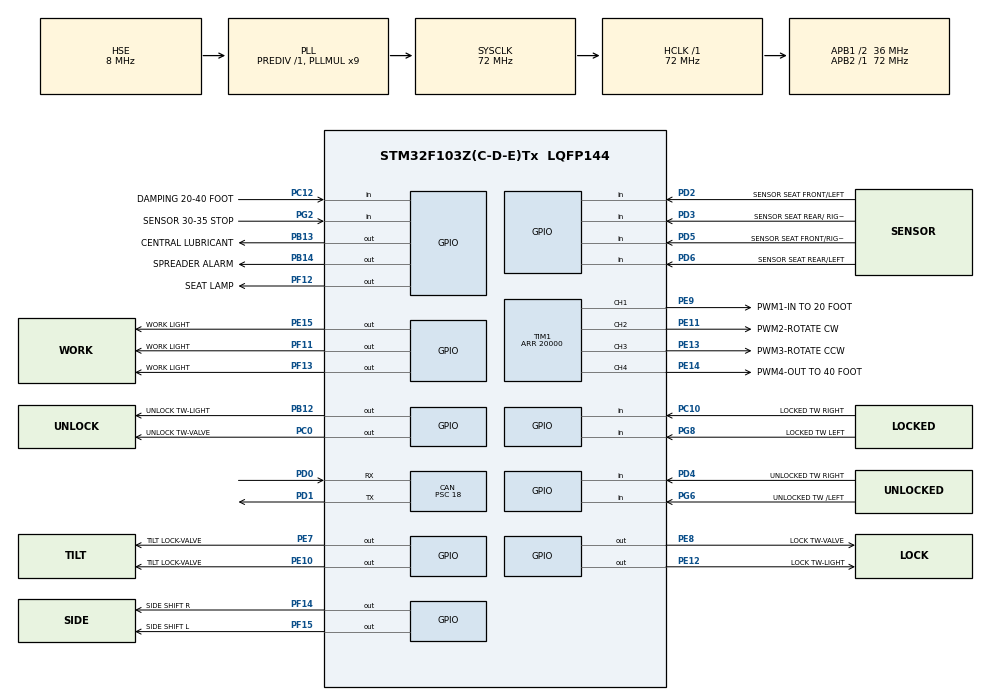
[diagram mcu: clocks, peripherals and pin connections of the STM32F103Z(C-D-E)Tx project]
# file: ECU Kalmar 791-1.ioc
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CAN.BS1=CAN_BS1_7TQ
CAN.BS2=CAN_BS2_8TQ
CAN.CalculateTimeBit=8000
CAN.CalculateTimeQuantum=500.0
CAN.Prescaler=18
IWDG.Prescaler=IWDG_PRESCALER_256
IWDG.Reload=156
Mcu.Family=STM32F1
Mcu.Name=STM32F103Z(C-D-E)Tx
Mcu.Package=LQFP144
NVIC.PriorityGroup=NVIC_PRIORITYGROUP_4
NVIC.TIM2_IRQn=true\:0\:0\:true\:false\:true\:true\:true
NVIC.TIM3_IRQn=true\:0\:0\:false\:false\:true\:true\:true
NVIC.TIM4_IRQn=true\:0\:0\:false\:false\:true\:true\:true
NVIC.TIM5_IRQn=true\:0\:0\:false\:false\:true\:true\:true
NVIC.TIM6_IRQn=true\:0\:0\:false\:false\:true\:true\:true
NVIC.USB_LP_CAN1_RX0_IRQn=true\:0\:0\:false\:false\:true\:true\:true
OSC_IN.Mode=HSE-External-Oscillator
OSC_IN.Signal=RCC_OSC_IN
OSC_OUT.Mode=HSE-External-Oscillator
OSC_OUT.Signal=RCC_OSC_OUT
PA13.Mode=Serial_Wire
PA13.Signal=SYS_JTMS-SWDIO
PA14.Mode=Serial_Wire
PA14.Signal=SYS_JTCK-SWCLK
PB12.GPIO_Label=UNLOCK TW-LIGHT
PB12.Signal=GPIO_Output
PB13.GPIO_Label=CENTRAL LUBRICANT
PB13.Signal=GPIO_Output
PB14.GPIO_Label=SPREADER ALARM
PB14.Signal=GPIO_Output
PC0.GPIO_Label=UNLOCK TW-VALVE
PC0.Signal=GPIO_Output
PC10.GPIO_Label=LOCKED TW RIGHT
PC10.GPIO_PuPd=GPIO_PULLDOWN
PC10.Signal=GPIO_Input
PC12.GPIO_Label=DAMPING 20-40 FOOT
PC12.GPIO_PuPd=GPIO_PULLDOWN
PC12.Signal=GPIO_Input
PD0.Mode=Master
PD0.Signal=CAN_RX
PD1.Mode=Master
PD1.Signal=CAN_TX
PD2.GPIO_Label=SENSOR SEAT FRONT/LEFT
PD2.GPIO_PuPd=GPIO_PULLDOWN
PD2.Signal=GPIO_Input
PD3.GPIO_Label=SENSOR SEAT REAR/ RIGHT
PD3.GPIO_PuPd=GPIO_PULLDOWN
PD3.Signal=GPIO_Input
PD4.GPIO_Label=UNLOCKED TW RIGHT
PD4.GPIO_PuPd=GPIO_PULLDOWN
PD4.Signal=GPIO_Input
PD5.GPIO_Label=SENSOR SEAT FRONT/RIGHT
PD5.GPIO_PuPd=GPIO_PULLDOWN
PD5.Signal=GPIO_Input
PD6.GPIO_Label=SENSOR SEAT REAR/LEFT
PD6.GPIO_PuPd=GPIO_PULLDOWN
PD6.Signal=GPIO_Input
PE10.GPIO_Label=TILT LOCK-VALVE
PE10.Signal=GPIO_Output
PE11.GPIO_Label=PWM2-ROTATE CW
PE11.Signal=S_TIM1_CH2
PE12.GPIO_Label=LOCK TW-LIGHT
PE12.Signal=GPIO_Output
PE13.GPIO_Label=PWM3-ROTATE CCW
PE13.Signal=S_TIM1_CH3
PE14.GPIO_Label=PWM4-OUT TO 40 FOOT
PE14.Signal=S_TIM1_CH4
PE15.GPIO_Label=WORK LIGHT
PE15.Signal=GPIO_Output
PE7.GPIO_Label=TILT LOCK-VALVE
PE7.Signal=GPIO_Output
PE8.GPIO_Label=LOCK TW-VALVE
PE8.Signal=GPIO_Output
PE9.GPIO_Label=PWM1-IN TO 20 FOOT
PE9.Signal=S_TIM1_CH1
PF11.GPIO_Label=WORK LIGHT
PF11.Signal=GPIO_Output
PF12.GPIO_Label=SEAT LAMP
PF12.Signal=GPIO_Output
PF13.GPIO_Label=WORK LIGHT
PF13.Signal=GPIO_Output
PF14.GPIO_Label=SIDE SHIFT R
PF14.Signal=GPIO_Output
PF15.GPIO_Label=SIDE SHIFT L
PF15.Signal=GPIO_Output
PG2.GPIO_Label=SENSOR 30-35 STOP
PG2.GPIO_PuPd=GPIO_PULLDOWN
PG2.Signal=GPIO_Input
PG6.GPIO_Label=UNLOCKED TW /LEFT
PG6.GPIO_PuPd=GPIO_PULLDOWN
PG6.Signal=GPIO_Input
PG8.GPIO_Label=LOCKED TW LEFT
PG8.GPIO_PuPd=GPIO_PULLDOWN
PG8.Signal=GPIO_Input
ProjectManager.HeapSize=0x200
ProjectManager.StackSize=0x400
ProjectManager.TargetToolchain=EWARM V7
RCC.ADCPresc=RCC_ADCPCLK2_DIV6
RCC.AHBFreq_Value=72000000
RCC.APB1CLKDivider=RCC_HCLK_DIV2
RCC.APB1Freq_Value=36000000
RCC.APB1TimFreq_Value=72000000
RCC.APB2Freq_Value=72000000
RCC.APB2TimFreq_Value=72000000
RCC.HCLKFreq_Value=72000000
RCC.PLLMUL=RCC_PLL_MUL9
RCC.PLLSourceVirtual=RCC_PLLSOURCE_HSE
RCC.SYSCLKFreq_VALUE=72000000
RCC.SYSCLKSource=RCC_SYSCLKSOURCE_PLLCLK
RCC.USBFreq_Value=48000000
RCC.USBPrescaler=RCC_USBCLKSOURCE_PLL_DIV1_5
SH.S_TIM1_CH1.0=TIM1_CH1,PWM Generation1 CH1
SH.S_TIM1_CH2.0=TIM1_CH2,PWM Generation2 CH2
SH.S_TIM1_CH3.0=TIM1_CH3,PWM Generation3 CH3
SH.S_TIM1_CH4.0=TIM1_CH4,PWM Generation4 CH4
TIM1.AutoReloadPreload=TIM_AUTORELOAD_PRELOAD_ENABLE
TIM1.Channel-PWM\ Generation1\ CH1=TIM_CHANNEL_1
TIM1.Channel-PWM\ Generation2\ CH2=TIM_CHANNEL_2
TIM1.Channel-PWM\ Generation3\ CH3=TIM_CHANNEL_3
TIM1.Channel-PWM\ Generation4\ CH4=TIM_CHANNEL_4
TIM1.Period=20000
TIM2.AutoReloadPreload=TIM_AUTORELOAD_PRELOAD_ENABLE
TIM2.Period=7200
TIM2.Prescaler=310
TIM3.AutoReloadPreload=TIM_AUTORELOAD_PRELOAD_ENABLE
TIM3.Period=7200
TIM3.Prescaler=1000
TIM4.AutoReloadPreload=TIM_AUTORELOAD_PRELOAD_ENABLE
TIM4.Period=7200
TIM4.Prescaler=\ 200
TIM5.Period=7200
TIM5.Prescaler=1000
TIM6.AutoReloadPreload=TIM_AUTORELOAD_PRELOAD_ENABLE
TIM6.Period=7200
TIM6.Prescaler=100
VP_IWDG_VS_IWDG.Mode=IWDG_Activate
VP_TIM1_VS_ClockSourceINT.Mode=Internal
VP_TIM2_VS_ClockSourceINT.Mode=Internal
VP_TIM3_VS_ClockSourceINT.Mode=Internal
VP_TIM4_VS_ClockSourceINT.Mode=Internal
VP_TIM5_VS_ClockSourceINT.Mode=Internal
VP_TIM6_VS_ClockSourceINT.Mode=Enable_Timer
board=custom

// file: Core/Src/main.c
/* USER CODE BEGIN Header */
/**
  ******************************************************************************
  * @file           : main.c
  * @brief          : Main program body
  ******************************************************************************
  * @attention
  *
  * <h2><center>&copy; Copyright (c) 2020 STMicroelectronics.
  * All rights reserved.</center></h2>
  *
  * This software component is licensed by ST under BSD 3-Clause license,
  * the "License"; You may not use this file except in compliance with the
  * License. You may obtain a copy of the License at:
  *                        opensource.org/licenses/BSD-3-Clause
  *
  ******************************************************************************
  */
/* USER CODE END Header */
#include "main.h"

/* USER CODE BEGIN Includes */
#include <stdbool.h>
//#include <eeprom.h>
/* USER CODE END Includes */

/* USER CODE BEGIN PM */
/////////////////////////////////////////////////////////////////////
//#define READ_INPUT10()   HAL_GPIO_ReadPin(GPIOG,GPIO_PIN_3)//PG3--I10--pin21->N.C
//#define READ_INPUT11()   HAL_GPIO_ReadPin(GPIOG,GPIO_PIN_5)//PG5--->N.C                       /////   N.C pins
//#define READ_INPUT12()   HAL_GPIO_ReadPin(GPIOG,GPIO_PIN_7)//PG7--->N.C
//#define READ_INPUT13()   HAL_GPIO_ReadPin(GPIOC,GPIO_PIN_11)//PC11--->N.C
////////////////////////////////////////////////////////////////////////////////////////////////////////////////////

#define SPREAD_STOP_SEN()   HAL_GPIO_ReadPin(GPIOG,GPIO_PIN_2)//PG2--->30-35 Stop
#define DAMP_SEN()  HAL_GPIO_ReadPin(GPIOC,GPIO_PIN_12)//PC12---> Damping 20/40
                   /////// lock/ unlock valve //////////
#define UNLOCK_L_SEN()   HAL_GPIO_ReadPin(GPIOG,GPIO_PIN_6)//PG6---> Unlock sensor Left
#define LOCK_L_SEN()   HAL_GPIO_ReadPin(GPIOG,GPIO_PIN_8)//PG8---> Lock sensor Left
                 //////***************************//////////////
#define UNLOCK_R_SEN()  HAL_GPIO_ReadPin(GPIOD,GPIO_PIN_4)//PD4---> Unlok sensor right
#define LOCK_R_SEN()   HAL_GPIO_ReadPin(GPIOC,GPIO_PIN_10)//PC10---> Lock sensor Right                             /////reading GPIOS status
                 //////// seat sensors feed back ////////
#define SEAT_L_FRONT()  HAL_GPIO_ReadPin(GPIOD,GPIO_PIN_2)//PD2- I12--pin13> Seat sensor Front/Left
#define SEAT_R_FRONT()  HAL_GPIO_ReadPin(GPIOD,GPIO_PIN_5)//PD5--I8-pin40> Seat Sensor Front/Right
#define SEAT_R_REAR()  HAL_GPIO_ReadPin(GPIOD,GPIO_PIN_3)//PD3--I4-pin26> Seat sensor Rear/Right
#define SEAT_L_REAR()  HAL_GPIO_ReadPin(GPIOD,GPIO_PIN_6)//PD6--I5-pin27>Seat Sensor  Rear/Left

/////////////////////////////////////////////////////////////////////////////////////////////////
#define LOCK_VALVE_HIGH()    HAL_GPIO_WritePin(GPIOC,GPIO_PIN_0,GPIO_PIN_SET)//Q13---PC0---LOCK TW VALVE
#define OUT_TEST_HIGH()    HAL_GPIO_WritePin(GPIOF,GPIO_PIN_11,GPIO_PIN_SET)//Q3---PF11--                       1
#define SEAT_LIGHT_HIGH()    HAL_GPIO_WritePin(GPIOF,GPIO_PIN_12,GPIO_PIN_SET)//Q6---PF12---SEAT LIGHT Orange
#define WORK_LIGHT_HIGH()    HAL_GPIO_WritePin(GPIOF,GPIO_PIN_13,GPIO_PIN_SET)//Q1-DO4--PF13---WORK LIGHT MAIN
#define SHIFT_RIGHT_HIGH()    HAL_GPIO_WritePin(GPIOF,GPIO_PIN_14,GPIO_PIN_SET)//Q10---PF14---SIDE SHIFT RIGHT VALVE
#define SHIFT_LEFT_HIGH()    HAL_GPIO_WritePin(GPIOF,GPIO_PIN_15,GPIO_PIN_SET)//Q11---PF15---SIDE SHIFT LEFT VALVE
#define TILT_LOCK_HIGH()    HAL_GPIO_WritePin(GPIOE,GPIO_PIN_7,GPIO_PIN_SET)//Q14---PE7---TILT LOCK VALVE
#define UNLOCK_VALVE_HIGH()    HAL_GPIO_WritePin(GPIOE,GPIO_PIN_8,GPIO_PIN_SET) //Q12---PE8---UNLOCK TW VALVE                                     /////SET GPIOS
#define TILT_LOCK1_HIGH()    HAL_GPIO_WritePin(GPIOE,GPIO_PIN_10,GPIO_PIN_SET)//Q9---PE10---TILT LOCK VALVE
#define LOCKED_GREEN_HIGH()    HAL_GPIO_WritePin(GPIOE,GPIO_PIN_12,GPIO_PIN_SET)//Q7---PE12---LOCK TW LIGHT Green
#define RUN_LED_HIGH()   HAL_GPIO_WritePin(GPIOE,GPIO_PIN_15,GPIO_PIN_SET)//Q8---PE15--RUN LED
#define UNLOCKED_RED_HIGH()   HAL_GPIO_WritePin(GPIOB,GPIO_PIN_12,GPIO_PIN_SET) //Q4---PB12---UNLOCK TW LIGHT Red
#define CAN_ST_LED_HIGH()   HAL_GPIO_WritePin(GPIOB,GPIO_PIN_13,GPIO_PIN_SET) //Q2---PB13---Can Status LED
#define SPREAD_ALARM_HIGH()   HAL_GPIO_WritePin(GPIOB,GPIO_PIN_14,GPIO_PIN_SET) //Q5---PB14---AUTO SPAREADER ALARM

///////////////////////////////////////////////////////////////////////////////////////////////////////
#define LOCK_VALVE_LOW()    HAL_GPIO_WritePin(GPIOC,GPIO_PIN_0,GPIO_PIN_RESET)//PC0
#define OUT_TEST_LOW()    HAL_GPIO_WritePin(GPIOF,GPIO_PIN_11,GPIO_PIN_RESET)//PF11  res
#define SEAT_LIGHT_LOW()    HAL_GPIO_WritePin(GPIOF,GPIO_PIN_12,GPIO_PIN_RESET)//PF12
#define WORK_LIGHT_LOW()    HAL_GPIO_WritePin(GPIOF,GPIO_PIN_13,GPIO_PIN_RESET)//PF13
#define SHIFT_RIGHT_LOW()    HAL_GPIO_WritePin(GPIOF,GPIO_PIN_14,GPIO_PIN_RESET)//PF14
#define SHIFT_LEFT_LOW()    HAL_GPIO_WritePin(GPIOF,GPIO_PIN_15,GPIO_PIN_RESET)//PF15
#define TILT_LOCK_LOW()    HAL_GPIO_WritePin(GPIOE,GPIO_PIN_7,GPIO_PIN_RESET)//PE7
#define UNLOCK_VALVE_LOW()    HAL_GPIO_WritePin(GPIOE,GPIO_PIN_8,GPIO_PIN_RESET)//PE8
#define TILT_LOCK1_LOW()    HAL_GPIO_WritePin(GPIOE,GPIO_PIN_10,GPIO_PIN_RESET) //PE10        ////RESET GPIOS
#define LOCKED_GREEN_LOW()    HAL_GPIO_WritePin(GPIOE,GPIO_PIN_12,GPIO_PIN_RESET)//PE12
#define RUN_LED_LOW()   HAL_GPIO_WritePin(GPIOE,GPIO_PIN_15,GPIO_PIN_RESET) //PE15
#define UNLOCKED_RED_LOW()   HAL_GPIO_WritePin(GPIOB,GPIO_PIN_12,GPIO_PIN_RESET) //PB12
#define CAN_ST_LED_LOW()   HAL_GPIO_WritePin(GPIOB,GPIO_PIN_13,GPIO_PIN_RESET) //PB13
#define SPREAD_ALARM_LOW()   HAL_GPIO_WritePin(GPIOB,GPIO_PIN_14,GPIO_PIN_RESET) //PB14

#define BitSet(x, BitPosition) ((x) |= (1 << (BitPosition)))
#define BitClear(x, BitPosition) ((x) &=~(1 << (BitPosition)))
#define BitRead(x, BitPosition) (((x) >>BitPosition) & 1)
#define BitWrite(x,BitPosition, value)((value)==1?BitSet(x, BitPosition):BitClear(x,BitPosition))

/* USER CODE END PM */

CAN_HandleTypeDef hcan;

IWDG_HandleTypeDef hiwdg;

TIM_HandleTypeDef htim1;
TIM_HandleTypeDef htim2;
TIM_HandleTypeDef htim3;
TIM_HandleTypeDef htim4;
TIM_HandleTypeDef htim5;
TIM_HandleTypeDef htim6;

/* USER CODE BEGIN PV */
CAN_FilterTypeDef    sFilterConfig; //CAN Bus Filter
CAN_RxHeaderTypeDef  RxHeader_Can_ST;//COBID 0x00
CAN_RxHeaderTypeDef  RxHeader;       //COBID 0x381
CAN_RxHeaderTypeDef  RxHeader_t;     //COBID 0x382
CAN_TxHeaderTypeDef  TxHeader_heart_bit; //0x208
CAN_TxHeaderTypeDef  TxHeader_status; //COBID 0x26C

uint8_t  RxData_Can_ST[8]={0,0,0,0,0,0,0,0};//COBID 0x00
uint8_t  RxData[8]={0,0,0,0,0,0,0,0};//COBID 0x381
uint8_t  RxData_t[8]={0,0,0,0,0,0,0,0};//COBID 0x382
uint8_t  TxData_heart_bit[8]={0,0,0,0,0,0,0,0};//0x208-----> 791-1
uint8_t  TxData_status[8]={0,0,0,0,0,0,0,0};// COBID 26C
uint32_t TxMailbox;
uint16_t pwm1_buff_D1,pwm2_CW_D2,pwm3_CCW_D3,pwm4_buff_D4;
//uint16_t PWM1_20ft_D1;// pwm buffers;
//uint16_t pwm2_buff_D2;
//uint16_t pwm3_buff_D3;
//uint16_t PWM4_40ft_D4;
/////////////////////////////////////////////////////////ecu gpio flags and other defines /////////////////////////////

char pistol_flag=0;
char Auto_20_40ft=0;
char panel_lock_flag=0;
char to20ft_CMD=0, to40ft_CMD=0;
char spreader_light=0;
char tilt_lock=0;
_Bool flag_40ft,flag_20ft,spread_flag;
uint8_t lock_safty_time=0;
uint16_t Timer5=0;
uint16_t ccw_pwm=0,cw_pwm=0;
uint16_t Vol_Rotation;
_Bool lock_button_flag=0,CW_flag=0,CCW_flag=0;
_Bool lock_edge_flag=0;
_Bool Lock_flag=0;
_Bool unLock_flag=0;
_Bool CAN_ST_flag=0;
_Bool Test_flag=0;
_Bool SEAT_L_FRONT,SEAT_R_FRONT,SEAT_R_REAR,SEAT_L_REAR, SPREAD_STOP_SEN,DAMP_SEN,UNLOCK_L_SEN,LOCK_L_SEN,UNLOCK_R_SEN,LOCK_R_SEN;
_Bool unlock_lock_flag;
_Bool valve40ft,valve20ft,valve_Unlock,valve_lock;
_Bool seat_flag,Locked_flag, Unlocked_flag;
uint8_t RUN_Timer=0;
uint8_t CAN_Timer=0;
uint16_t Timer1=0 , Timer2=0 , Timer3=0 , Timer4=0;
/////////////////////////eeprom variables//////////////////
//uint16_t write_eeprom_value;
//uint16_t read_eeprom_value[256];

/* USER CODE END PV */

void SystemClock_Config(void);
static void MX_GPIO_Init(void);
static void MX_CAN_Init(void);
static void MX_TIM2_Init(void);
static void MX_TIM4_Init(void);
static void MX_TIM1_Init(void);
static void MX_TIM6_Init(void);
static void MX_TIM3_Init(void);
static void MX_TIM5_Init(void);
static void MX_IWDG_Init(void);
long map(long x, long in_min, long in_max, long out_min, long out_max) {
  return (x - in_min) * (out_max - out_min) / (in_max - in_min) + out_min;
}

/* USER CODE BEGIN 0 */
void HAL_CAN_RxFifo0MsgPendingCallback(CAN_HandleTypeDef *hcan)
{
  HAL_CAN_GetRxMessage(hcan, CAN_RX_FIFO0, &RxHeader, RxData);
 //__HAL_IWDG_RELOAD_COUNTER(&hiwdg);
  if(RxHeader.StdId==0x00)   //Heart bit from 790/0
    {
    if(RxData[1] ==0x89)
      CAN_ST_flag=1;
       else
      CAN_ST_flag=0;
    }
  ///////////////////////////////////// COB ID 381 ////////////////////////////////////////////////////
  if(RxHeader.StdId==0x381)   //baraye fal sazy PWM   ----- VOLUMES ON JOY STICK
               {
        Vol_Rotation =RxData[4] <<8 | RxData[5] ;   ////set pwm3

                 }
 /////////////////////////////////////////////  COB ID 382 ///////////////////////////////////////////////////////////////////////
   if(RxHeader.StdId==0x382)    // baraye fala sazy khorojy ha tavasot CAN_BUS
      {
       ///////////FIRST WORD ///////////////////////
      if(BitRead(RxData[0],0) && pistol_flag ==0)//COBID=382 Data=0 Bit=0
            SHIFT_LEFT_HIGH();
            else
            SHIFT_LEFT_LOW();

  if(BitRead(RxData[0],1) && pistol_flag ==0)	//COBID=382 Data=0 Bit=1
           SHIFT_RIGHT_HIGH();
           else
           SHIFT_RIGHT_LOW();
  ///////////////////////////////////******spreader---20foot-40foot*****////////////////////////////////////////////////////
       if(BitRead(RxData[0],0) && pistol_flag ==1)//COBID=382 Data=0 Bit=0
          to40ft_CMD=1;
          else
          to40ft_CMD=0;

         if(BitRead(RxData[0],1) && pistol_flag ==1)  //COBID=382 Data=0 Bit=1
          to20ft_CMD=1;
          else
          to20ft_CMD=0;

	if(BitRead(RxData[1],3))//COBID=382 Data=1 Bit=3
         Auto_20_40ft=1;
         else
         Auto_20_40ft=0;

 /////////////////////////////////////pistol////////////////////////////////////////////////
	 if(BitRead(RxData[0],2))//COBID=382 Data=0 Bit=2
           pistol_flag=1;
           else
           pistol_flag=0;

    //////////// UNLOCK/lock TW  /// button on joy stick----toggle mode
	 if(BitRead(RxData[0],3))////COBID=382 Data=0 Bit=3
                  {
            if(SEAT_L_FRONT() ==1 & SEAT_R_FRONT() ==1 & SEAT_R_REAR()==1 & SEAT_L_REAR()==1)
                        {
                 if(lock_edge_flag==0)
                            {
                  lock_edge_flag=1;
                  lock_button_flag ^=1 ;   //Toggle
                            }
                        }
                  }
                      else
                  lock_edge_flag=0;

	if(BitRead(RxData[1],1))//COBID=382 Data=1 Bit=1
           panel_lock_flag=1;
           else                      //// TW Auto-LOCK key on panel
           panel_lock_flag=0;

//////////////////////////////////////////////////////////////////////////////////////////////

	if(BitRead(RxData[0],5))//COBID=382 Data=0 Bit=5
          {
           tilt_lock=1;
          }
       else
          {
           tilt_lock=0;             // LEVEL LOCK BIT
          }

////////////SECOND WORD ////////////////////////////////////////////////////////////
///////////////////////////five word//////////////////////////////////////////////

	if(BitRead(RxData[5],6)) //COBID=382 Data=5 Bit=6
           spreader_light=1;
           else                 ////spreader Work light on
           spreader_light=0;
      }
 }
////////////////////////////////////////////// HEART BIT COBID 208 /////////////////////////
void heartbit (void) //Timer 4
     {
   TxData_heart_bit[0]=0;
   TxData_heart_bit[1]=137;  /////COBID 208 0.030 sec
   HAL_CAN_AddTxMessage(&hcan,&TxHeader_heart_bit,TxData_heart_bit,&TxMailbox); //CAN_BUS heart bit ECU 791-1
       }

void Status (void)//Timer 3
          {
    HAL_CAN_AddTxMessage(&hcan,&TxHeader_status,TxData_status,&TxMailbox); //COBID 0x26C

  //////////////////// CAN STATUS LED ////////////////////
      CAN_Timer++;
     if(CAN_Timer==160)
       CAN_Timer=0;
     if(CAN_Timer>80 & CAN_ST_flag==1)
       CAN_ST_LED_HIGH();
         else
       CAN_ST_LED_LOW();

    //COBID=26C Data=0 Bit0 (UNLOCKED , LOCKED Light Status)
	 if( Locked_flag==1 | Unlocked_flag==1)
	                {
          BitWrite(TxData_status[0], 0,1);
			}
		     else
	  BitWrite(TxData_status[0], 0,0);

	//COBID=26C Data=0 Bit1 (seat Status)
            if(seat_flag==1)
		   {
           BitWrite(TxData_status[0], 1,1);
	           }
		 else
	   BitWrite(TxData_status[0], 1,0);

	//COBID=26C Data=0 Bit2 (com valve spreader Y6003)
	if(valve40ft==1 | valve20ft==1 | flag_40ft==1 | flag_20ft==1 | valve_Unlock==1 | valve_lock==1 | CW_flag==1 | CCW_flag==1)
	          {
	 BitWrite(TxData_status[0], 2,1);
		   }
		  else
	BitWrite(TxData_status[0], 2,0);

  }
   void Rotation (void)  //Timer 2
           {
  ////////////////////////// CW ROTATION ///////////////////
    if( Vol_Rotation <1800 &Vol_Rotation >560 & pistol_flag==0)
            {
       CW_flag=1;
     pwm2_CW_D2 = map(Vol_Rotation,1800,560,100,900);
    }
     else
     {
        pwm2_CW_D2=0;
       CW_flag=0;
     }
     ///////////////////// CCW ROTATION ///////////////////

    if( Vol_Rotation >3200 & Vol_Rotation <4500 & pistol_flag==0)
    {
      CCW_flag=1;
    pwm3_CCW_D3 = map(Vol_Rotation,3200,4440,100,900);
    }
    else
    {
      pwm3_CCW_D3=0;
      CCW_flag=0;
    }

   if((Vol_Rotation <3201 & Vol_Rotation >1799) |Vol_Rotation <560 | Vol_Rotation >4500 )
   {
       pwm2_CW_D2=0;
        pwm3_CCW_D3=0;
   }

}

void readgpio (void)  //Timer 6
    {
   __HAL_IWDG_RELOAD_COUNTER(&hiwdg);//rest watch dog
      lock_safty_time ++;
       ///////////////////// RUN LED  ///////////////////
    RUN_Timer++;
       if(RUN_Timer==100)
            {
        RUN_Timer=0;
            }
     if(RUN_Timer>50)
    RUN_LED_HIGH();
    else
   RUN_LED_LOW();
///////////////////////////////////////////////////////////////////

   if(SEAT_L_FRONT() ==1 & SEAT_R_FRONT() ==1 & SEAT_R_REAR()==1 & SEAT_L_REAR()==1)  //seat sensors
      {
       SEAT_LIGHT_HIGH();
        seat_flag=1;
      //if(read_eeprom_value[0] ==0)
			if(lock_button_flag==0)
           {
            if(LOCK_L_SEN()==0 | LOCK_R_SEN()==0)
                  {
                 lock_safty_time=0;
                LOCK_VALVE_HIGH();        //lock
                 UNLOCK_VALVE_LOW();
                valve_lock=1;
                  }
                else
                  {
               LOCK_VALVE_LOW();
               valve_lock=0;
                  }
           }

       //if( read_eeprom_value[0] ==1)
	 if(lock_button_flag==1)
               {
        if(UNLOCK_L_SEN()==0 & UNLOCK_R_SEN()==0)
                   {
                 lock_safty_time=0;
                 UNLOCK_VALVE_HIGH();      //unlock
                 LOCK_VALVE_LOW();
		 valve_Unlock=1;
                  }
                 else{
               UNLOCK_VALVE_LOW();
	             valve_Unlock=0;
                     }
                }
         }

      else if(SEAT_L_FRONT() ==0 | SEAT_R_FRONT() ==0 | SEAT_R_REAR()==0 | SEAT_L_REAR()==0)
              {
          SEAT_LIGHT_LOW();
	seat_flag=0;
              }
 ////////////////////////////////////  Locked Lamp Green  //////////////////////////////////////
         if(LOCK_L_SEN()==1 & LOCK_R_SEN()== 1)
              {
            LOCKED_GREEN_HIGH();
	     Locked_flag=1;
              }
             else
                 {
           LOCKED_GREEN_LOW();
	   Locked_flag=0;
                 }
 //////////////////////////////////   Unlocked lamp RED    /////////////////////////////////////
         if(UNLOCK_L_SEN()==1 & UNLOCK_R_SEN()==1)
                {
            UNLOCKED_RED_HIGH();
	    Unlocked_flag=1;
                }
              else
                  {
            UNLOCKED_RED_LOW();
	    Unlocked_flag=0;
                  }

        if(lock_safty_time >=120)
                {
              UNLOCK_VALVE_LOW();
              LOCK_VALVE_LOW();
                }

 //////////////////////////////////Work_Light function////////////////////////////////////

          if(spreader_light ==1)
                {
             WORK_LIGHT_HIGH(); ////Turn on work light
                }
          else if(spreader_light==0)
                {
              WORK_LIGHT_LOW(); //// Turn off work light
                }

 ///////////////////////////////Tilt_lock//////////////////////////////////////////////////

            if(tilt_lock ==1)
                 {
              TILT_LOCK_LOW();//tilt lock
              TILT_LOCK1_LOW(); //tilt lock1
                 }
           else if(tilt_lock==0)
                   {
              TILT_LOCK_HIGH();//tilt lock
              TILT_LOCK1_HIGH();//tilt lock1
                   }

 /////////////////////////// to 40ft hand ////////////////////////////////////////////////
 if(Auto_20_40ft==0)
 {
    if( to40ft_CMD==1 & SEAT_L_FRONT() ==0 &SEAT_R_FRONT() ==0 &SEAT_R_REAR()==0 &SEAT_L_REAR()==0 &UNLOCK_L_SEN()==1 &UNLOCK_R_SEN()==1)
{
   Timer1++;
	valve40ft=1;
if(DAMP_SEN() ==1)
pwm4_buff_D4=800;
if(DAMP_SEN() ==0)
pwm4_buff_D4=1000;
 }
  if(to40ft_CMD==0 || (SPREAD_STOP_SEN() ==1& Timer1>30))
    {
pwm4_buff_D4=0;
   valve40ft=0;
    }
  if(to40ft_CMD==0 )
    {
   Timer1=0;
   }

///////////////////////////to 20ft Hand///////////////////////////////////////////////////////////
if(to20ft_CMD==1 &SEAT_L_FRONT() ==0 &SEAT_R_FRONT() ==0 &SEAT_R_REAR() ==0 &SEAT_L_REAR() ==0 &UNLOCK_L_SEN() ==1 &UNLOCK_R_SEN() ==1)
  {
  Timer2++;
valve20ft=1;
 if(DAMP_SEN() ==1)
    {
pwm1_buff_D1=800;
    }
if(DAMP_SEN() ==0)
    {
pwm1_buff_D1=1000;
    }
  }
  if(to20ft_CMD==0 | (SPREAD_STOP_SEN() ==1 & Timer2>30))
    {
pwm1_buff_D1=0;
valve20ft=0;
    }
  if(to20ft_CMD==0 )
   {
   Timer2=0;
  }
  }

//////////////////////////////// Auto 40ft /////////////////////////////
  if(Auto_20_40ft==1 )
  {
  if(to40ft_CMD==1 & SEAT_L_FRONT()==0 &SEAT_R_FRONT()==0 &SEAT_R_REAR()==0 &SEAT_L_REAR()==0 &UNLOCK_L_SEN()==1 &UNLOCK_R_SEN()==1)
     {
   flag_40ft=1;
   flag_20ft=0;
	pwm1_buff_D1=0;
     }
   if(flag_40ft==1)
     {
    SPREAD_ALARM_HIGH();
  Timer4++;
 if(DAMP_SEN() ==1)
     {
pwm4_buff_D4=800;
     }
if(DAMP_SEN() ==0)
     {
pwm4_buff_D4=1000;
     }
 }
  if(flag_40ft==0 | (SPREAD_STOP_SEN() ==1 & Timer4>30))
     {
pwm4_buff_D4=0;
flag_40ft=0;
SPREAD_ALARM_LOW();
     }
  if(flag_40ft==0 )
    {
   Timer4=0;
    }
  //////////////////////////////////////////// Auto 20ft ////////////////////
  if(to20ft_CMD==1 & SEAT_L_FRONT()==0 &SEAT_R_FRONT()==0 &SEAT_R_REAR()==0 &SEAT_L_REAR()==0 & UNLOCK_L_SEN()==1 & UNLOCK_R_SEN()==1)
     {
  flag_20ft=1;
  flag_40ft=0;
  pwm4_buff_D4=0;
     }
   if(flag_20ft==1)
   {
    SPREAD_ALARM_HIGH();
  Timer3++;
 if(DAMP_SEN() ==1)
     {
pwm1_buff_D1=800;
     }
if(DAMP_SEN() ==0)
     {
pwm1_buff_D1=1000;
     }
 }
  if(Auto_20_40ft==0 | (SPREAD_STOP_SEN() ==1 & Timer3>30))
     {
pwm1_buff_D1=0;
flag_20ft=0;
SPREAD_ALARM_LOW();
     }
  if(flag_20ft==0 )
    {
   Timer3=0;
    }
  }
  if(Auto_20_40ft==0)
    {
  flag_20ft=0 ;
  flag_40ft=0;
  SPREAD_ALARM_LOW();
   }

 ///////////////////////////MONITORING/////////////////////////////////////////////
UNLOCK_L_SEN =HAL_GPIO_ReadPin(GPIOG,GPIO_PIN_6);//PG6---> Unlock TW Left
LOCK_L_SEN =HAL_GPIO_ReadPin(GPIOG,GPIO_PIN_8);//PG8---> Lock TW Left
                 //////***************************//////////////
UNLOCK_R_SEN =HAL_GPIO_ReadPin(GPIOD,GPIO_PIN_4);//PD4---> Unlok TW right
LOCK_R_SEN =HAL_GPIO_ReadPin(GPIOC,GPIO_PIN_10);//PC10---> Lock TW Right                             /////reading GPIOS status
                 //////// seat sensors feed back ////////
SEAT_L_FRONT =HAL_GPIO_ReadPin(GPIOD,GPIO_PIN_2);//PD2---> Seat sensor Front/Left
SEAT_R_FRONT =HAL_GPIO_ReadPin(GPIOD,GPIO_PIN_5);//PD5---> Seat Sensor Front/Right
SEAT_R_REAR =HAL_GPIO_ReadPin(GPIOD,GPIO_PIN_3);//PD3---> Seat sensor Rear/Right
SEAT_L_REAR =HAL_GPIO_ReadPin(GPIOD,GPIO_PIN_6);//PD6--->Seat Sensor  Rear/Left
   //////////////////////////20 foot-40 foot sensors ////////////////////////////////////
SPREAD_STOP_SEN =HAL_GPIO_ReadPin(GPIOG,GPIO_PIN_2);//PG2--->30-35 Stop
DAMP_SEN =HAL_GPIO_ReadPin(GPIOC,GPIO_PIN_12);//PC12---> Damping 20/40
  }

/* USER CODE END 0 */

int main(void)
{

  /* MCU Configuration--------------------------------------------------------*/

  /* Reset of all peripherals, Initializes the Flash interface and the Systick. */
  HAL_Init();

  /* Configure the system clock */
  SystemClock_Config();

  /* Initialize all configured peripherals */
  MX_GPIO_Init();
  MX_CAN_Init();
  MX_TIM2_Init();
  MX_TIM4_Init();
  MX_TIM1_Init();
  MX_TIM6_Init();
  MX_TIM3_Init();
  MX_TIM5_Init();
  MX_IWDG_Init();
  /* USER CODE BEGIN 2 */
  sFilterConfig.FilterBank=0;
  sFilterConfig.FilterMode=CAN_FILTERMODE_IDMASK;
  sFilterConfig.FilterScale=CAN_FILTERSCALE_32BIT;
  sFilterConfig.FilterIdHigh=0x0000;
  sFilterConfig.FilterIdLow=0x0000;
  sFilterConfig.FilterMaskIdHigh=0x0000;
  sFilterConfig.FilterMaskIdLow=0x0000;
  sFilterConfig.FilterFIFOAssignment=CAN_RX_FIFO0;
  sFilterConfig.FilterActivation=ENABLE;
  sFilterConfig.SlaveStartFilterBank=14;

   if(HAL_CAN_ConfigFilter(&hcan,&sFilterConfig)!=HAL_OK)
     {
      Error_Handler();
     }

  if(HAL_CAN_Start(&hcan)!=HAL_OK)
    {
     Error_Handler();
    }

   RxHeader.StdId =0x381;
   RxHeader.RTR  = CAN_RTR_DATA;
   RxHeader.IDE = CAN_ID_STD ;
   RxHeader.DLC = 8;

   RxHeader_t.StdId =0x382;
   RxHeader_t.RTR  = CAN_RTR_DATA;
   RxHeader_t.IDE = CAN_ID_STD ;
   RxHeader_t.DLC = 8;

   RxHeader_Can_ST.StdId =0x00;
   RxHeader_Can_ST.RTR  = CAN_RTR_DATA;
   RxHeader_Can_ST.IDE = CAN_ID_STD ;
  RxHeader_Can_ST.DLC = 8;
   /////////////////////////////////////////////////////// HEART BIT TX HEADER////////////////////////////////////
   TxHeader_heart_bit.StdId = 0x208; //208=791-1 heart bit
   TxHeader_heart_bit.RTR = CAN_RTR_DATA; //tx3
   TxHeader_heart_bit.IDE = CAN_ID_STD;
   TxHeader_heart_bit.DLC = 2;
   TxHeader_heart_bit.TransmitGlobalTime = DISABLE;
   //*********************************************************************************************************//
   TxHeader_status.StdId = 0x26C;
   TxHeader_status.RTR = CAN_RTR_DATA; //seats status
   TxHeader_status.IDE = CAN_ID_STD;
   TxHeader_status.DLC = 1;
   TxHeader_status.TransmitGlobalTime = DISABLE;

  ////////////////////////////////////////////////////////////////////////////////////////////////////
   HAL_CAN_ConfigFilter(&hcan,&sFilterConfig); //Initialize CAN Filter
   HAL_CAN_Start(&hcan); //Initialize CAN Bus
   HAL_CAN_ActivateNotification(&hcan,CAN_IT_RX_FIFO0_MSG_PENDING);
   HAL_TIM_Base_Start_IT(&htim6);
   HAL_TIM_Base_Start_IT(&htim4);
   HAL_TIM_Base_Start_IT(&htim3);
   HAL_TIM_Base_Start_IT(&htim2);
  ////////////////////////////////////////////pwms enable
   HAL_TIM_PWM_Start(&htim1,TIM_CHANNEL_1);
   HAL_TIM_PWM_Start(&htim1,TIM_CHANNEL_2);
   HAL_TIM_PWM_Start(&htim1,TIM_CHANNEL_3);
   HAL_TIM_PWM_Start(&htim1,TIM_CHANNEL_4);
  ////////////////////////////////////////////
   __HAL_TIM_SET_COMPARE(&htim1,TIM_CHANNEL_1,0);
   __HAL_TIM_SET_COMPARE(&htim1,TIM_CHANNEL_2,0);
   __HAL_TIM_SET_COMPARE(&htim1,TIM_CHANNEL_3,0);
   __HAL_TIM_SET_COMPARE(&htim1,TIM_CHANNEL_4,0);

////////////////////eeprom initialize//////////////////////////////
//HAL_FLASH_Unlock();
//EE_Init();
//////////////////////////////////////////////////////

  /* USER CODE END 2 */

  /* Infinite loop */
  while (1)
  {

    /* USER CODE BEGIN 3 */
   //__HAL_IWDG_RELOAD_COUNTER(&hiwdg);

 ////////////////////////////SET PWMS //////////////////////////////////////////
     __HAL_TIM_SET_COMPARE(&htim1,TIM_CHANNEL_1,pwm1_buff_D1);//Pin19 to 20ft PE9
      __HAL_TIM_SET_COMPARE(&htim1,TIM_CHANNEL_2,pwm2_CW_D2);//Pin16 Rotation CW PE11
     __HAL_TIM_SET_COMPARE(&htim1,TIM_CHANNEL_3,pwm3_CCW_D3);//Pin17 Rotation CCW PE13
     __HAL_TIM_SET_COMPARE(&htim1,TIM_CHANNEL_4,pwm4_buff_D4);//Pin18 to 40ft PE14
//////////////////////////////// BOOM UP///////////////////////////////////////////////////

    }

  /* USER CODE END 3 */
}

void SystemClock_Config(void)
{
  RCC_OscInitTypeDef RCC_OscInitStruct = {0};
  RCC_ClkInitTypeDef RCC_ClkInitStruct = {0};

  /** Initializes the RCC Oscillators according to the specified parameters
  * in the RCC_OscInitTypeDef structure.
  */
  RCC_OscInitStruct.OscillatorType = RCC_OSCILLATORTYPE_LSI|RCC_OSCILLATORTYPE_HSE;
  RCC_OscInitStruct.HSEState = RCC_HSE_ON;
  RCC_OscInitStruct.HSEPredivValue = RCC_HSE_PREDIV_DIV1;
  RCC_OscInitStruct.HSIState = RCC_HSI_ON;
  RCC_OscInitStruct.LSIState = RCC_LSI_ON;
  RCC_OscInitStruct.PLL.PLLState = RCC_PLL_ON;
  RCC_OscInitStruct.PLL.PLLSource = RCC_PLLSOURCE_HSE;
  RCC_OscInitStruct.PLL.PLLMUL = RCC_PLL_MUL9;
  if (HAL_RCC_OscConfig(&RCC_OscInitStruct) != HAL_OK)
  {
    Error_Handler();
  }
  /** Initializes the CPU, AHB and APB buses clocks
  */
  RCC_ClkInitStruct.ClockType = RCC_CLOCKTYPE_HCLK|RCC_CLOCKTYPE_SYSCLK
                              |RCC_CLOCKTYPE_PCLK1|RCC_CLOCKTYPE_PCLK2;
  RCC_ClkInitStruct.SYSCLKSource = RCC_SYSCLKSOURCE_PLLCLK;
  RCC_ClkInitStruct.AHBCLKDivider = RCC_SYSCLK_DIV1;
  RCC_ClkInitStruct.APB1CLKDivider = RCC_HCLK_DIV2;
  RCC_ClkInitStruct.APB2CLKDivider = RCC_HCLK_DIV1;

  if (HAL_RCC_ClockConfig(&RCC_ClkInitStruct, FLASH_LATENCY_2) != HAL_OK)
  {
    Error_Handler();
  }
}

static void MX_CAN_Init(void)
{

  hcan.Instance = CAN1;
  hcan.Init.Prescaler = 18;
  hcan.Init.Mode = CAN_MODE_NORMAL;
  hcan.Init.SyncJumpWidth = CAN_SJW_1TQ;
  hcan.Init.TimeSeg1 = CAN_BS1_7TQ;
  hcan.Init.TimeSeg2 = CAN_BS2_8TQ;
  hcan.Init.TimeTriggeredMode = DISABLE;
  hcan.Init.AutoBusOff = DISABLE;
  hcan.Init.AutoWakeUp = DISABLE;
  hcan.Init.AutoRetransmission = DISABLE;
  hcan.Init.ReceiveFifoLocked = DISABLE;
  hcan.Init.TransmitFifoPriority = DISABLE;
  if (HAL_CAN_Init(&hcan) != HAL_OK)
  {
    Error_Handler();
  }

}

static void MX_IWDG_Init(void)
{

  hiwdg.Instance = IWDG;
  hiwdg.Init.Prescaler = IWDG_PRESCALER_4;
  hiwdg.Init.Reload = 4095;
  if (HAL_IWDG_Init(&hiwdg) != HAL_OK)
  {
    Error_Handler();
  }

}

static void MX_TIM1_Init(void)
{

  TIM_ClockConfigTypeDef sClockSourceConfig = {0};
  TIM_MasterConfigTypeDef sMasterConfig = {0};
  TIM_OC_InitTypeDef sConfigOC = {0};
  TIM_BreakDeadTimeConfigTypeDef sBreakDeadTimeConfig = {0};

  htim1.Instance = TIM1;
  htim1.Init.Prescaler = 100;//100
  htim1.Init.CounterMode = TIM_COUNTERMODE_UP;
  htim1.Init.Period = 1100;//1100
  htim1.Init.ClockDivision = TIM_CLOCKDIVISION_DIV1;
  htim1.Init.RepetitionCounter = 0;
  htim1.Init.AutoReloadPreload = TIM_AUTORELOAD_PRELOAD_DISABLE;//disable
  if (HAL_TIM_Base_Init(&htim1) != HAL_OK)
  {
    Error_Handler();
  }
  sClockSourceConfig.ClockSource = TIM_CLOCKSOURCE_INTERNAL;
  if (HAL_TIM_ConfigClockSource(&htim1, &sClockSourceConfig) != HAL_OK)
  {
    Error_Handler();
  }
  if (HAL_TIM_PWM_Init(&htim1) != HAL_OK)
  {
    Error_Handler();
  }
  sMasterConfig.MasterOutputTrigger = TIM_TRGO_RESET;
  sMasterConfig.MasterSlaveMode = TIM_MASTERSLAVEMODE_DISABLE;
  if (HAL_TIMEx_MasterConfigSynchronization(&htim1, &sMasterConfig) != HAL_OK)
  {
    Error_Handler();
  }
  sConfigOC.OCMode = TIM_OCMODE_PWM1;
  sConfigOC.Pulse = 1000;//1000
  sConfigOC.OCPolarity = TIM_OCPOLARITY_HIGH;
  sConfigOC.OCNPolarity = TIM_OCNPOLARITY_HIGH;
  sConfigOC.OCFastMode = TIM_OCFAST_DISABLE;
  sConfigOC.OCIdleState = TIM_OCIDLESTATE_RESET;
  sConfigOC.OCNIdleState = TIM_OCNIDLESTATE_RESET;
  if (HAL_TIM_PWM_ConfigChannel(&htim1, &sConfigOC, TIM_CHANNEL_1) != HAL_OK)
  {
    Error_Handler();
  }
  if (HAL_TIM_PWM_ConfigChannel(&htim1, &sConfigOC, TIM_CHANNEL_2) != HAL_OK)
  {
    Error_Handler();
  }
  if (HAL_TIM_PWM_ConfigChannel(&htim1, &sConfigOC, TIM_CHANNEL_3) != HAL_OK)
  {
    Error_Handler();
  }
  if (HAL_TIM_PWM_ConfigChannel(&htim1, &sConfigOC, TIM_CHANNEL_4) != HAL_OK)
  {
    Error_Handler();
  }
  sBreakDeadTimeConfig.OffStateRunMode = TIM_OSSR_DISABLE;
  sBreakDeadTimeConfig.OffStateIDLEMode = TIM_OSSI_DISABLE;
  sBreakDeadTimeConfig.LockLevel = TIM_LOCKLEVEL_OFF;
  sBreakDeadTimeConfig.DeadTime = 0;
  sBreakDeadTimeConfig.BreakState = TIM_BREAK_DISABLE;
  sBreakDeadTimeConfig.BreakPolarity = TIM_BREAKPOLARITY_HIGH;
  sBreakDeadTimeConfig.AutomaticOutput = TIM_AUTOMATICOUTPUT_DISABLE;
  if (HAL_TIMEx_ConfigBreakDeadTime(&htim1, &sBreakDeadTimeConfig) != HAL_OK)
  {
    Error_Handler();
  }
  HAL_TIM_MspPostInit(&htim1);

}

static void MX_TIM2_Init(void)
{

  TIM_ClockConfigTypeDef sClockSourceConfig = {0};
  TIM_MasterConfigTypeDef sMasterConfig = {0};

  htim2.Instance = TIM2;
  htim2.Init.Prescaler = 10;//310
  htim2.Init.CounterMode = TIM_COUNTERMODE_UP;
  htim2.Init.Period = 7200;//7200
  htim2.Init.ClockDivision = TIM_CLOCKDIVISION_DIV1;
  htim2.Init.AutoReloadPreload = TIM_AUTORELOAD_PRELOAD_ENABLE;
  if (HAL_TIM_Base_Init(&htim2) != HAL_OK)
  {
    Error_Handler();
  }
  sClockSourceConfig.ClockSource = TIM_CLOCKSOURCE_INTERNAL;
  if (HAL_TIM_ConfigClockSource(&htim2, &sClockSourceConfig) != HAL_OK)
  {
    Error_Handler();
  }
  sMasterConfig.MasterOutputTrigger = TIM_TRGO_RESET;
  sMasterConfig.MasterSlaveMode = TIM_MASTERSLAVEMODE_DISABLE;
  if (HAL_TIMEx_MasterConfigSynchronization(&htim2, &sMasterConfig) != HAL_OK)
  {
    Error_Handler();
  }

}

static void MX_TIM3_Init(void)
{

  TIM_ClockConfigTypeDef sClockSourceConfig = {0};
  TIM_MasterConfigTypeDef sMasterConfig = {0};

  htim3.Instance = TIM3;
  htim3.Init.Prescaler = 100;//100
  htim3.Init.CounterMode = TIM_COUNTERMODE_UP;
  htim3.Init.Period = 7200;//7200
  htim3.Init.ClockDivision = TIM_CLOCKDIVISION_DIV1;
  htim3.Init.AutoReloadPreload = TIM_AUTORELOAD_PRELOAD_ENABLE;
  if (HAL_TIM_Base_Init(&htim3) != HAL_OK)
  {
    Error_Handler();
  }
  sClockSourceConfig.ClockSource = TIM_CLOCKSOURCE_INTERNAL;
  if (HAL_TIM_ConfigClockSource(&htim3, &sClockSourceConfig) != HAL_OK)
  {
    Error_Handler();
  }
  sMasterConfig.MasterOutputTrigger = TIM_TRGO_RESET;
  sMasterConfig.MasterSlaveMode = TIM_MASTERSLAVEMODE_DISABLE;
  if (HAL_TIMEx_MasterConfigSynchronization(&htim3, &sMasterConfig) != HAL_OK)
  {
    Error_Handler();
  }

}

static void MX_TIM4_Init(void)
{

  TIM_ClockConfigTypeDef sClockSourceConfig = {0};
  TIM_MasterConfigTypeDef sMasterConfig = {0};

  htim4.Instance = TIM4;
  htim4.Init.Prescaler = 300;//300
  htim4.Init.CounterMode = TIM_COUNTERMODE_UP;
  htim4.Init.Period = 7200;//7200
  htim4.Init.ClockDivision = TIM_CLOCKDIVISION_DIV1;
  htim4.Init.AutoReloadPreload = TIM_AUTORELOAD_PRELOAD_ENABLE;
  if (HAL_TIM_Base_Init(&htim4) != HAL_OK)
  {
    Error_Handler();
  }
  sClockSourceConfig.ClockSource = TIM_CLOCKSOURCE_INTERNAL;
  if (HAL_TIM_ConfigClockSource(&htim4, &sClockSourceConfig) != HAL_OK)
  {
    Error_Handler();
  }
  sMasterConfig.MasterOutputTrigger = TIM_TRGO_RESET;
  sMasterConfig.MasterSlaveMode = TIM_MASTERSLAVEMODE_DISABLE;
  if (HAL_TIMEx_MasterConfigSynchronization(&htim4, &sMasterConfig) != HAL_OK)
  {
    Error_Handler();
  }

}

static void MX_TIM5_Init(void)
{

  TIM_ClockConfigTypeDef sClockSourceConfig = {0};
  TIM_MasterConfigTypeDef sMasterConfig = {0};

  htim5.Instance = TIM5;
  htim5.Init.Prescaler = 1000;//1000
  htim5.Init.CounterMode = TIM_COUNTERMODE_UP;
  htim5.Init.Period = 7200;//7200
  htim5.Init.ClockDivision = TIM_CLOCKDIVISION_DIV1;
  htim5.Init.AutoReloadPreload = TIM_AUTORELOAD_PRELOAD_DISABLE;
  if (HAL_TIM_Base_Init(&htim5) != HAL_OK)
  {
    Error_Handler();
  }
  sClockSourceConfig.ClockSource = TIM_CLOCKSOURCE_INTERNAL;
  if (HAL_TIM_ConfigClockSource(&htim5, &sClockSourceConfig) != HAL_OK)
  {
    Error_Handler();
  }
  sMasterConfig.MasterOutputTrigger = TIM_TRGO_RESET;
  sMasterConfig.MasterSlaveMode = TIM_MASTERSLAVEMODE_DISABLE;
  if (HAL_TIMEx_MasterConfigSynchronization(&htim5, &sMasterConfig) != HAL_OK)
  {
    Error_Handler();
  }

}

static void MX_TIM6_Init(void)
{

  TIM_MasterConfigTypeDef sMasterConfig = {0};

  htim6.Instance = TIM6;
  htim6.Init.Prescaler = 10;//10
  htim6.Init.CounterMode = TIM_COUNTERMODE_UP;
  htim6.Init.Period = 7200;//7200
  htim6.Init.AutoReloadPreload = TIM_AUTORELOAD_PRELOAD_ENABLE;
  if (HAL_TIM_Base_Init(&htim6) != HAL_OK)
  {
    Error_Handler();
  }
  sMasterConfig.MasterOutputTrigger = TIM_TRGO_RESET;
  sMasterConfig.MasterSlaveMode = TIM_MASTERSLAVEMODE_DISABLE;
  if (HAL_TIMEx_MasterConfigSynchronization(&htim6, &sMasterConfig) != HAL_OK)
  {
    Error_Handler();
  }

}

static void MX_GPIO_Init(void)
{
  GPIO_InitTypeDef GPIO_InitStruct = {0};

  /* GPIO Ports Clock Enable */
  __HAL_RCC_GPIOC_CLK_ENABLE();
  __HAL_RCC_GPIOF_CLK_ENABLE();
  __HAL_RCC_GPIOE_CLK_ENABLE();
  __HAL_RCC_GPIOB_CLK_ENABLE();
  __HAL_RCC_GPIOG_CLK_ENABLE();
  __HAL_RCC_GPIOA_CLK_ENABLE();
  __HAL_RCC_GPIOD_CLK_ENABLE();

  /*Configure GPIO pin Output Level */
  HAL_GPIO_WritePin(UNLOCK_TW_VALVE_GPIO_Port, UNLOCK_TW_VALVE_Pin, GPIO_PIN_RESET);

  /*Configure GPIO pin Output Level */
  HAL_GPIO_WritePin(GPIOF, WORK_LIGHT_Pin|SEAT_LAMP_Pin|WORK_LIGHTF13_Pin|SIDE_SHIFT_R_Pin
                          |SIDE_SHIFT_L_Pin, GPIO_PIN_RESET);

  /*Configure GPIO pin Output Level */
  HAL_GPIO_WritePin(GPIOE, TILT_LOCK_VALVE_Pin|LOCK_TW_VALVE_Pin|TILT_LOCK_VALVEE10_Pin|LOCK_TW_LIGHT_Pin
                          |WORK_LIGHTE15_Pin, GPIO_PIN_RESET);

  /*Configure GPIO pin Output Level */
  HAL_GPIO_WritePin(GPIOB, UNLOCK_TW_LIGHT_Pin|CENTRAL_LUBRICANT_Pin|SPREADER_ALARM_Pin, GPIO_PIN_RESET);

  /*Configure GPIO pin : UNLOCK_TW_VALVE_Pin */
  GPIO_InitStruct.Pin = UNLOCK_TW_VALVE_Pin;
  GPIO_InitStruct.Mode = GPIO_MODE_OUTPUT_PP;
  GPIO_InitStruct.Pull = GPIO_NOPULL;
  GPIO_InitStruct.Speed = GPIO_SPEED_FREQ_LOW;
  HAL_GPIO_Init(UNLOCK_TW_VALVE_GPIO_Port, &GPIO_InitStruct);

  /*Configure GPIO pins : WORK_LIGHT_Pin SEAT_LAMP_Pin WORK_LIGHTF13_Pin SIDE_SHIFT_R_Pin
                           SIDE_SHIFT_L_Pin */
  GPIO_InitStruct.Pin = WORK_LIGHT_Pin|SEAT_LAMP_Pin|WORK_LIGHTF13_Pin|SIDE_SHIFT_R_Pin
                          |SIDE_SHIFT_L_Pin;
  GPIO_InitStruct.Mode = GPIO_MODE_OUTPUT_PP;
  GPIO_InitStruct.Pull = GPIO_NOPULL;
  GPIO_InitStruct.Speed = GPIO_SPEED_FREQ_LOW;
  HAL_GPIO_Init(GPIOF, &GPIO_InitStruct);

  /*Configure GPIO pins : TILT_LOCK_VALVE_Pin LOCK_TW_VALVE_Pin TILT_LOCK_VALVEE10_Pin LOCK_TW_LIGHT_Pin
                           WORK_LIGHTE15_Pin */
  GPIO_InitStruct.Pin = TILT_LOCK_VALVE_Pin|LOCK_TW_VALVE_Pin|TILT_LOCK_VALVEE10_Pin|LOCK_TW_LIGHT_Pin
                          |WORK_LIGHTE15_Pin;
  GPIO_InitStruct.Mode = GPIO_MODE_OUTPUT_PP;
  GPIO_InitStruct.Pull = GPIO_NOPULL;
  GPIO_InitStruct.Speed = GPIO_SPEED_FREQ_LOW;
  HAL_GPIO_Init(GPIOE, &GPIO_InitStruct);

  /*Configure GPIO pins : UNLOCK_TW_LIGHT_Pin CENTRAL_LUBRICANT_Pin SPREADER_ALARM_Pin */
  GPIO_InitStruct.Pin = UNLOCK_TW_LIGHT_Pin|CENTRAL_LUBRICANT_Pin|SPREADER_ALARM_Pin;
  GPIO_InitStruct.Mode = GPIO_MODE_OUTPUT_PP;
  GPIO_InitStruct.Pull = GPIO_NOPULL;
  GPIO_InitStruct.Speed = GPIO_SPEED_FREQ_LOW;
  HAL_GPIO_Init(GPIOB, &GPIO_InitStruct);

  /*Configure GPIO pins : SENSOR_30_35_STOP_Pin UNLOCKED_TW__LEFT_Pin LOCKED_TW_LEFT_Pin */
  GPIO_InitStruct.Pin = SENSOR_30_35_STOP_Pin|UNLOCKED_TW__LEFT_Pin|LOCKED_TW_LEFT_Pin;
  GPIO_InitStruct.Mode = GPIO_MODE_INPUT;
  GPIO_InitStruct.Pull = GPIO_PULLDOWN;
  HAL_GPIO_Init(GPIOG, &GPIO_InitStruct);

  /*Configure GPIO pins : LOCKED_TW_RIGHT_Pin DAMPING_20_40_FOOT_Pin */
  GPIO_InitStruct.Pin = LOCKED_TW_RIGHT_Pin|DAMPING_20_40_FOOT_Pin;
  GPIO_InitStruct.Mode = GPIO_MODE_INPUT;
  GPIO_InitStruct.Pull = GPIO_PULLDOWN;
  HAL_GPIO_Init(GPIOC, &GPIO_InitStruct);

  /*Configure GPIO pins : PD2 SENSOR_SEAT_REAR__RIGHT_Pin UNLOCKED_TW_RIGHT_Pin SENSOR_SEAT_FRONT_RIGHT_Pin
                           SENSOR_SEAT_REAR_LEFT_Pin */
  GPIO_InitStruct.Pin = GPIO_PIN_2|SENSOR_SEAT_REAR__RIGHT_Pin|UNLOCKED_TW_RIGHT_Pin|SENSOR_SEAT_FRONT_RIGHT_Pin
                          |SENSOR_SEAT_REAR_LEFT_Pin;
  GPIO_InitStruct.Mode = GPIO_MODE_INPUT;
  GPIO_InitStruct.Pull = GPIO_PULLDOWN;
  HAL_GPIO_Init(GPIOD, &GPIO_InitStruct);

}

void Error_Handler(void)
{
}

/************************ (C) COPYRIGHT STMicroelectronics *****END OF FILE****/
